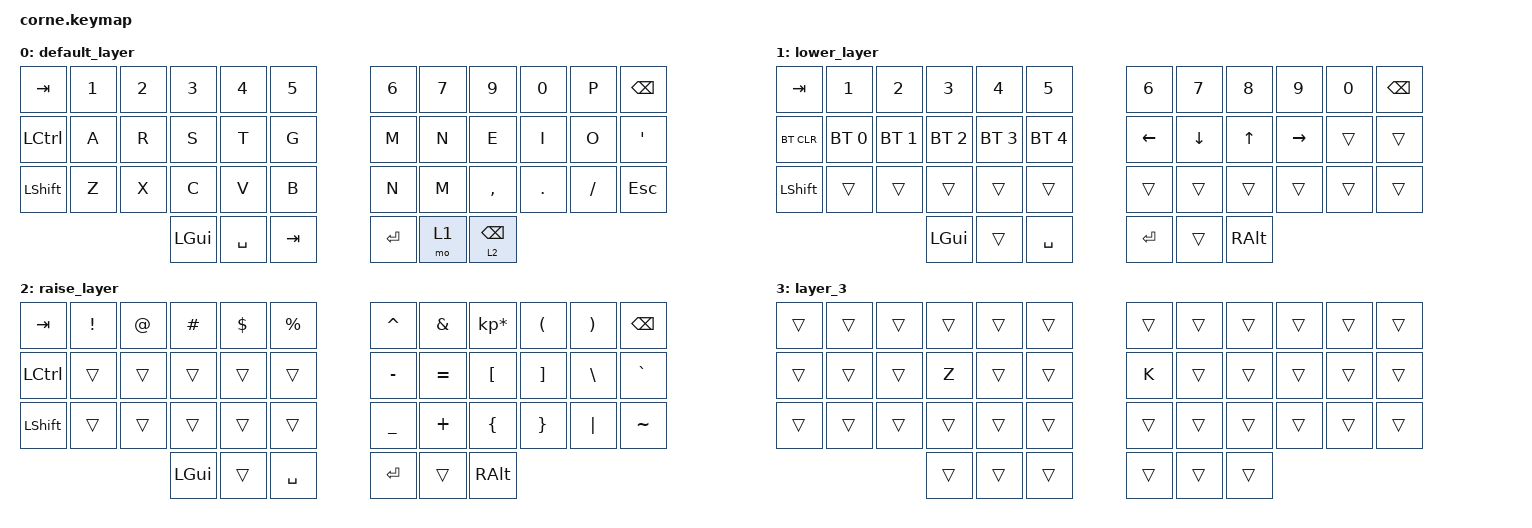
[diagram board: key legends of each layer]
/*
 * Copyright (c) 2020 The ZMK Contributors
 *
 * SPDX-License-Identifier: MIT
 */

#include <behaviors.dtsi>
#include <dt-bindings/zmk/bt.h>
#include <dt-bindings/zmk/keys.h>

/ {
    keymap {
        compatible = "zmk,keymap";

        default_layer {
            // -----------------------------------------------------------------------------------------
            // |  TAB |  Q  |  W  |  E  |  R  |  T  |   |  Y  |  U   |  I  |  O  |  P  | BKSP |
            // | CTRL |  A  |  S  |  D  |  F  |  G  |   |  H  |  J   |  K  |  L  |  ;  |  '   |
            // | SHFT |  Z  |  X  |  C  |  V  |  B  |   |  N  |  M   |  ,  |  .  |  /  | ESC  |
            //                    | GUI | LWR | SPC |   | ENT | RSE  | ALT |

            bindings = <
&kp TAB    &kp NUMBER_1  &kp NUMBER_2  &kp NUMBER_3  &kp NUMBER_4  &kp N5     &kp NUMBER_6  &kp N7  &kp N9      &kp N0   &kp P     &kp BSPC
&kp LCTRL  &kp A         &kp R         &kp S         &kp T         &kp G      &kp M         &kp N   &kp E       &kp I    &kp O     &kp SQT
&kp LSHFT  &kp Z         &kp X         &kp C         &kp V         &kp B      &kp N         &kp M   &kp COMMA   &kp DOT  &kp FSLH  &kp ESC
                                       &kp LGUI      &kp SPACE     &kp TAB    &kp RET       &mo 1   &lt 2 BSPC
            >;
        };

        lower_layer {
            // -----------------------------------------------------------------------------------------
            // |  TAB |  1  |  2  |  3  |  4  |  5  |   |  6  |  7  |  8  |  9  |  0  | BKSP |
            // | BTCLR| BT1 | BT2 | BT3 | BT4 | BT5 |   | LFT | DWN |  UP | RGT |     |      |
            // | SHFT |     |     |     |     |     |   |     |     |     |     |     |      |
            //                    | GUI |     | SPC |   | ENT |     | ALT |

            bindings = <
&kp TAB     &kp N1        &kp N2        &kp N3        &kp N4        &kp N5          &kp N6    &kp N7    &kp N8    &kp N9     &kp N0  &kp BSPC
&bt BT_CLR  &bt BT_SEL 0  &bt BT_SEL 1  &bt BT_SEL 2  &bt BT_SEL 3  &bt BT_SEL 4    &kp LEFT  &kp DOWN  &kp UP    &kp RIGHT  &trans  &trans
&kp LSHFT   &trans        &trans        &trans        &trans        &trans          &trans    &trans    &trans    &trans     &trans  &trans
                                        &kp LGUI      &trans        &kp SPACE       &kp RET   &trans    &kp RALT
            >;
        };

        raise_layer {
            // -----------------------------------------------------------------------------------------
            // |  TAB |  !  |  @  |  #  |  $  |  %  |   |  ^  |  &  |  *  |  (  |  )  | BKSP |
            // | CTRL |     |     |     |     |     |   |  -  |  =  |  [  |  ]  |  \  |  `   |
            // | SHFT |     |     |     |     |     |   |  _  |  +  |  {  |  }  | "|" |  ~   |
            //                    | GUI |     | SPC |   | ENT |     | ALT |

            bindings = <
&kp TAB    &kp EXCL  &kp AT  &kp HASH  &kp DLLR  &kp PRCNT    &kp CARET  &kp AMPS   &kp KP_MULTIPLY  &kp LPAR  &kp RPAR  &kp BSPC
&kp LCTRL  &trans    &trans  &trans    &trans    &trans       &kp MINUS  &kp EQUAL  &kp LBKT         &kp RBKT  &kp BSLH  &kp GRAVE
&kp LSHFT  &trans    &trans  &trans    &trans    &trans       &kp UNDER  &kp PLUS   &kp LBRC         &kp RBRC  &kp PIPE  &kp TILDE
                             &kp LGUI  &trans    &kp SPACE    &kp RET    &trans     &kp RALT
            >;
        };

        layer_3 {
            bindings = <
&trans  &trans  &trans  &trans  &trans  &trans    &trans  &trans  &trans  &trans  &trans  &trans
&trans  &trans  &trans  &kp Z   &trans  &trans    &kp K   &trans  &trans  &trans  &trans  &trans
&trans  &trans  &trans  &trans  &trans  &trans    &trans  &trans  &trans  &trans  &trans  &trans
                        &trans  &trans  &trans    &trans  &trans  &trans
            >;
        };
    };
};
